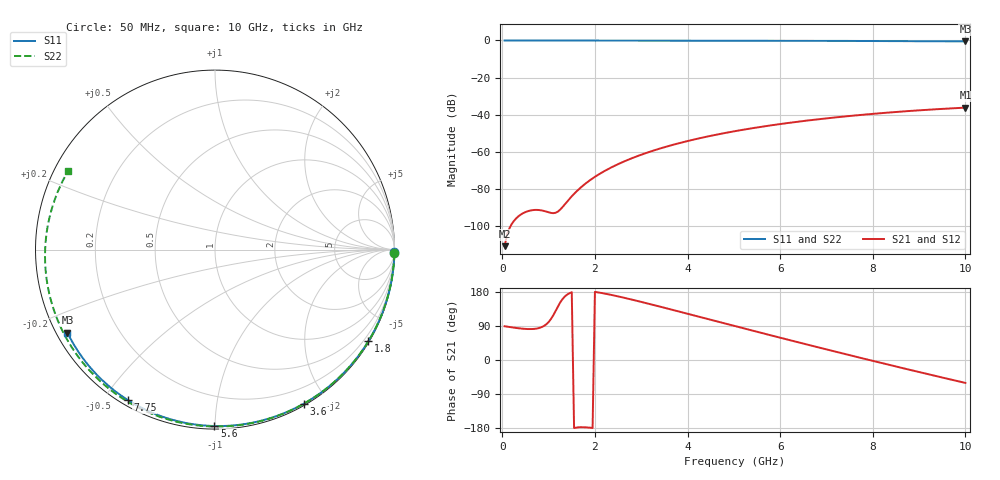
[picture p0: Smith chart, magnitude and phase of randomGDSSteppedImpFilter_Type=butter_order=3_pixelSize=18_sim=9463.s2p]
! freq	dB(S11)	phase(S11)	dB(S12)	phase(S12)
!  dB(S21)	phase(S21)	dB(S22)	phase(S22)
!S-par simulation data
#  GHz  S  DB  R 50
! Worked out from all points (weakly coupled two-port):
!   200 points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, 50 MHz to 10 GHz, reference 50 ohm
!   highest |S21| = -36.24 dB at 10 GHz (marker M1); lowest = -111.0 dB at 50 MHz (marker M2)
!   lowest |S11| = -0.5 dB at 10 GHz (marker M3), VSWR 34.38, Z = 1.55 - j13.1 ohm
!   |S11| at or under -10 dB: nowhere
!   |S22| runs from -0.6 to 0.0 dB; largest |S21 - S12| = 0
!   S11 on the Smith chart (normalised r, x): 50 MHz: open; 1.8 GHz: 0.03, -3.63; 3.6 GHz: 0.02, -1.73; 5.6 GHz: 0.02, -1.00; 7.75 GHz: 0.02, -0.57; 10 GHz: 0.03, -0.26
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0.05  -0.00 -0.9  -110.97 89.0  -110.97 89.0  -0.00 -1.2
0.45  -0.01 -7.8  -93.17 82.4  -93.17 82.4  -0.01 -10.3
0.85  -0.02 -14.7  -91.69 86.8  -91.69 86.8  -0.02 -19.4
1.65  -0.04 -28.3  -80.31 -177.6  -80.31 -177.6  -0.05 -37.3
1.75  -0.04 -30.0  -78.14 -177.4  -78.14 -177.4  -0.05 -39.5
1.8  -0.04 -30.8  -77.13 -177.6  -77.13 -177.6  -0.05 -40.6
2.1  -0.05 -35.8  -71.99 177.8  -71.99 177.8  -0.06 -47.1
2.5  -0.05 -42.4  -66.72 167.9  -66.72 167.9  -0.07 -55.7
2.9  -0.06 -48.9  -62.55 156.4  -62.55 156.4  -0.08 -64.2
3.4  -0.08 -56.9  -58.34 141.0  -58.34 141.0  -0.10 -74.6
3.6  -0.08 -60.1  -56.88 134.7  -56.88 134.7  -0.11 -78.7
4.3  -0.10 -70.9  -52.52 112.5  -52.52 112.5  -0.13 -92.7
5.05  -0.13 -82.2  -48.81 88.7  -48.81 88.7  -0.17 -107.4
5.6  -0.15 -90.2  -46.55 71.3  -46.55 71.3  -0.20 -118.0
6.15  -0.17 -98.1  -44.58 54.1  -44.58 54.1  -0.23 -128.5
6.7  -0.21 -105.8  -42.87 37.1  -42.87 37.1  -0.27 -139.0
7.25  -0.24 -113.4  -41.36 20.3  -41.36 20.3  -0.32 -149.6
7.75  -0.28 -120.2  -40.15 5.2  -40.15 5.2  -0.37 -159.4
8.35  -0.33 -128.3  -38.87 -12.7  -38.87 -12.7  -0.43 -171.6
9.2  -0.41 -139.8  -37.37 -37.6  -37.37 -37.6  -0.54 170.3
9.6  -0.46 -145.2  -36.77 -49.1  -36.77 -49.1  -0.59 161.2
10  -0.51 -150.6  -36.24 -60.5  -36.24 -60.5  -0.65 151.8
